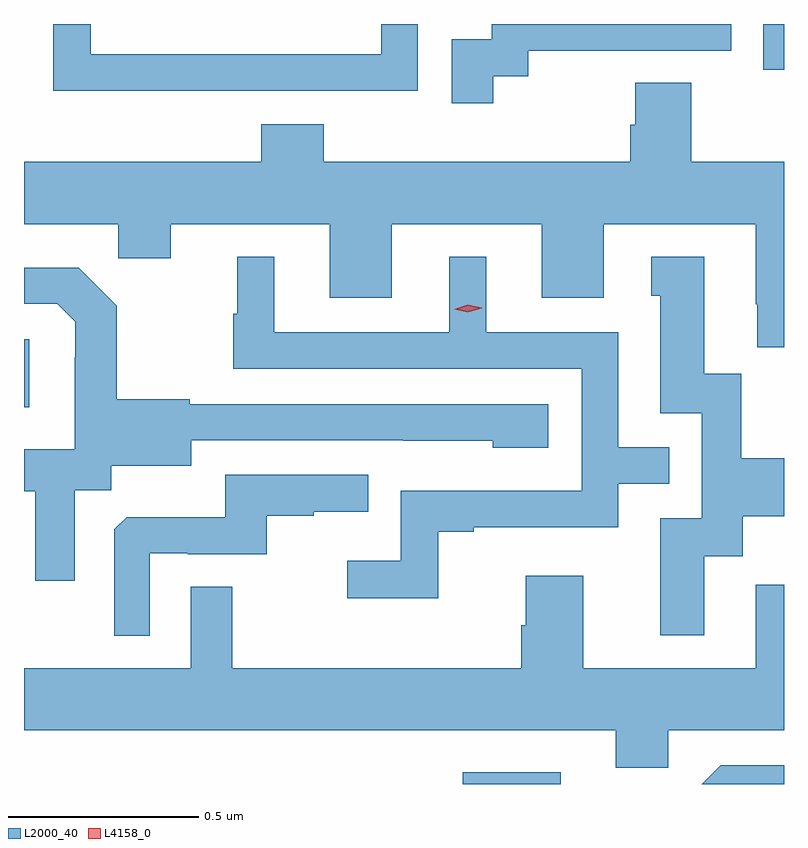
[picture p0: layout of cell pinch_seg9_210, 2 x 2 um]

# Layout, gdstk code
import gdstk
lib = gdstk.Library(unit=1e-6, precision=1e-09)
def R(c, l, rs):  # rectangles x0, y0, x1, y1
    for r in rs: c.add(gdstk.rectangle(r[:2], r[2:], *l))
def P(c, l, *ps):  # polygons
    for p in ps: c.add(gdstk.Polygon(p, *l))
L2000_40 = (2000, 40)
L4158_0 = (4158, 0)

pinch_seg9_210 = lib.new_cell('pinch_seg9_210')
R(pinch_seg9_210, L2000_40, [(598.681,1237.571,598.939,1237.602), (597.527,1238.562,597.541,1238.742), (599.473,1239.45,599.527,1239.571)])
P(pinch_seg9_210, L2000_40, [(598.067,1239.396),(598.563,1239.396),(598.563,1239.571),(598.467,1239.571),(598.467,1239.492),(597.702,1239.492),(597.702,1239.571),(597.604,1239.571),(597.604,1239.395),(598.067,1239.395)],
  [(598.762,1239.433),(598.854,1239.433),(598.854,1239.501),(599.388,1239.501),(599.388,1239.571),(598.758,1239.571),(598.758,1239.531),(598.653,1239.531),(598.653,1239.363),(598.762,1239.363)],
  [(599.527,1239.208),(599.283,1239.208),(599.283,1239.416),(599.135,1239.416),(599.135,1239.306),(599.123,1239.306),(599.123,1239.208),(598.316,1239.208),(598.316,1239.307),(598.151,1239.307),(598.151,1239.208),(597.527,1239.208),(597.527,1239.044),(597.775,1239.044),(597.775,1238.954),(597.913,1238.954),(597.913,1239.044),(598.331,1239.044),(598.331,1238.85),(598.495,1238.85),(598.495,1239.044),(598.889,1239.044),(598.889,1238.85),(599.053,1238.85),(599.053,1239.044),(599.453,1239.044),(599.453,1238.833),(599.456,1238.833),(599.456,1238.721),(599.527,1238.721)],
  [(599.317,1238.17),(599.419,1238.17),(599.419,1238.276),(599.527,1238.276),(599.527,1238.428),(599.415,1238.428),(599.415,1238.651),(599.317,1238.651),(599.317,1238.959),(599.177,1238.959),(599.177,1238.856),(599.201,1238.856),(599.201,1238.547),(599.31,1238.547),(599.31,1238.271),(599.201,1238.271),(599.201,1237.962),(599.317,1237.962)],
  [(598.617,1238.235),(598.711,1238.235),(598.711,1238.247),(599.091,1238.247),(599.091,1238.361),(599.225,1238.361),(599.225,1238.457),(599.091,1238.457),(599.091,1238.76),(598.744,1238.76),(598.744,1238.959),(598.646,1238.959),(598.646,1238.76),(598.186,1238.76),(598.186,1238.959),(598.088,1238.959),(598.088,1238.808),(598.077,1238.808),(598.077,1238.664),(598.995,1238.664),(598.995,1238.343),(598.518,1238.343),(598.518,1238.158),(598.377,1238.158),(598.377,1238.06),(598.617,1238.06)],
  [(597.661,1238.344),(597.756,1238.344),(597.756,1238.408),(597.967,1238.408),(597.967,1238.475),(598.525,1238.475),(598.525,1238.474),(598.761,1238.474),(598.761,1238.456),(598.906,1238.456),(598.906,1238.571),(597.963,1238.571),(597.963,1238.584),(597.771,1238.584),(597.771,1238.829),(597.671,1238.929),(597.527,1238.929),(597.527,1238.835),(597.615,1238.835),(597.662,1238.788),(597.662,1238.693),(597.66,1238.693),(597.66,1238.452),(597.527,1238.452),(597.527,1238.342),(597.557,1238.342),(597.557,1238.106),(597.661,1238.106)],
  [(597.858,1238.178),(597.958,1238.178),(597.958,1238.175),(598.166,1238.175),(598.166,1238.277),(598.289,1238.277),(598.289,1238.288),(598.433,1238.288),(598.433,1238.385),(598.056,1238.385),(598.056,1238.273),(597.797,1238.273),(597.765,1238.241),(597.765,1237.961),(597.858,1237.961)],
  [(599.223,1237.712),(599.527,1237.712),(599.527,1238.095),(599.453,1238.095),(599.453,1237.876),(598.999,1237.876),(598.999,1238.119),(598.847,1238.119),(598.847,1237.989),(598.835,1237.989),(598.835,1237.876),(598.075,1237.876),(598.075,1238.09),(597.966,1238.09),(597.966,1237.876),(597.527,1237.876),(597.527,1237.712),(599.084,1237.712),(599.084,1237.614),(599.223,1237.614)],
  [(599.527,1237.62),(599.36,1237.62),(599.311,1237.571),(599.527,1237.571)])
P(pinch_seg9_210, L4158_0, [(598.695,1238.812),(598.659,1238.821),(598.659,1238.821),(598.659,1238.821),(598.695,1238.832),(598.731,1238.824),(598.731,1238.823),(598.731,1238.823)])

lib.write_gds('pinch_seg9_210.gds')
